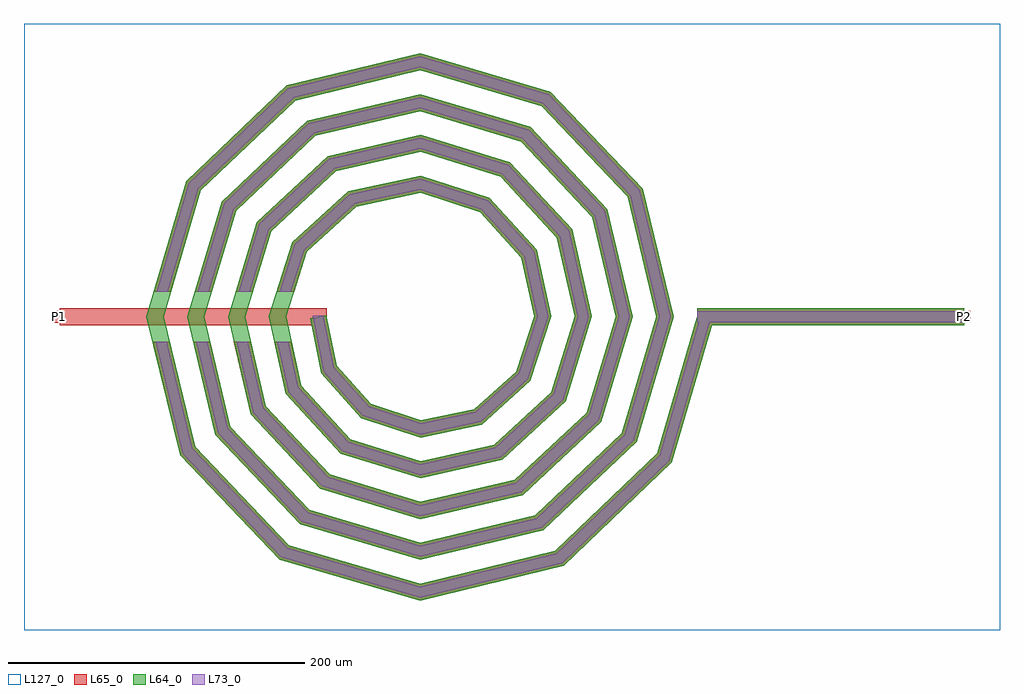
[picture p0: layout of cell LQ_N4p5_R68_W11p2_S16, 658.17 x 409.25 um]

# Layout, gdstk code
import gdstk
lib = gdstk.Library(unit=1e-6, precision=1e-09)
def R(c, l, rs):  # rectangles x0, y0, x1, y1
    for r in rs: c.add(gdstk.rectangle(r[:2], r[2:], *l))
def P(c, l, *ps):  # polygons
    for p in ps: c.add(gdstk.Polygon(p, *l))
L64_0 = (64, 0)
L65_0 = (65, 0)
L73_0 = (73, 0)
L127_0 = (127, 0)

lq_n4p5_r68_w11p2_s16 = lib.new_cell('LQ_N4p5_R68_W11p2_S16')
R(lq_n4p5_r68_w11p2_s16, L64_0, [(186.985,-5.6,366.985,5.6)])
P(lq_n4p5_r68_w11p2_s16, L64_0, [(-56.364,-32.944),(-33.496,-58.692),(0.327,-69.869),(36.356,-62.334),(64.633,-36.959),(76.746,0.3),(68.303,39.772),(40.419,70.576),(0.277,83.623),(-43.192,74.27),(-76.522,43.875),(-90.5,0.257),(-80.235,-46.614),(-47.33,-82.469),(0.24,-97.377),(50.039,-86.199),(88.417,-50.782),(104.255,0.225),(92.163,53.465),(54.233,94.366),(0.212,111.133),(-56.893,98.125),(-100.317,57.682),(-118.01,0.2),(-104.087,-60.322),(-61.13,-106.267),(0.19,-124.888),(63.752,-110.048),(112.219,-64.578),(131.766,0.18),(116.009,67.183),(68.024,118.171),(0.172,138.644),(-70.615,121.97),(-124.123,71.47),(-145.522,0.164),(-127.93,-74.047),(-74.916,-130.076),(0.157,-152.399),(77.48,-133.89),(136.029,-78.36),(159.277,0.15),(139.85,80.913),(81.805,141.982),(0.144,166.155),(-84.347,145.809),(-147.936,85.249),(-173.033,0.139),(-151.768,-87.781),(-88.692,-153.89),(0.134,-179.911),(91.216,-157.727),(159.844,-92.135),(187.21,1.57),(197.961,-1.57),(169.753,-98.157),(96.784,-167.898),(0.134,-191.504),(-94.722,-163.794),(-161.944,-93.341),(-184.625,0.139),(-157.835,91.288),(-89.897,155.99),(0.144,177.747),(87.854,151.875),(150.037,86.453),(170.869,0.15),(145.915,-84.42),(83.008,-144.083),(0.157,-163.991),(-80.987,-139.955),(-138.13,-79.563),(-157.113,0.164),(-133.995,77.554),(-76.117,132.177),(0.172,150.234),(74.122,128.034),(126.224,72.671),(143.356,0.18),(122.073,-70.69),(69.224,-120.272),(0.19,-136.478),(-67.26,-116.111),(-114.32,-65.776),(-129.599,0.2),(-110.149,63.83),(-62.327,108.369),(0.212,122.721),(60.401,104.186),(102.419,58.877),(115.843,0.225),(98.222,-56.974),(55.425,-96.469),(0.24,-108.964),(-53.548,-92.257),(-90.52,-51.971),(-102.085,0.257),(-86.291,50.125),(-48.516,84.572),(0.277,95.206),(46.703,80.323),(78.626,45.057),(88.327,0.3),(74.354,-43.285),(41.595,-72.681),(0.327,-81.448),(-39.87,-68.381),(-66.739,-38.129),(-74.268,-1.116),(-63.293,1.116)])
R(lq_n4p5_r68_w11p2_s16, L65_0, [(-243.181,-5.6,-63.181,5.6), (186.985,-5.6,366.985,5.6), (-247.181,-4,-239.181,4), (362.985,-4,370.985,4)])
P(lq_n4p5_r68_w11p2_s16, L65_0, [(-151.768,-87.782),(-88.692,-153.89),(0.134,-179.911),(91.216,-157.727),(159.844,-92.135),(187.21,1.57),(197.961,-1.57),(169.753,-98.157),(96.784,-167.898),(0.134,-191.504),(-94.723,-163.794),(-161.944,-93.341),(-180.516,-16.8),(-168.991,-16.8)],
  [(-127.93,-74.047),(-74.916,-130.076),(0.157,-152.399),(77.48,-133.89),(136.029,-78.36),(159.277,0.15),(139.85,80.913),(81.805,141.982),(0.144,166.155),(-84.347,145.809),(-147.936,85.249),(-168.055,16.8),(-179.728,16.8),(-157.835,91.288),(-89.897,155.99),(0.144,177.747),(87.854,151.875),(150.037,86.453),(170.869,0.15),(145.915,-84.42),(83.008,-144.083),(0.157,-163.991),(-80.987,-139.955),(-138.13,-79.563),(-153.074,-16.8),(-141.561,-16.8)],
  [(-104.087,-60.322),(-61.131,-106.267),(0.19,-124.888),(63.752,-110.048),(112.219,-64.578),(131.766,0.18),(116.009,67.183),(68.025,118.171),(0.172,138.644),(-70.615,121.97),(-124.123,71.47),(-140.454,16.8),(-152.143,16.8),(-133.995,77.554),(-76.117,132.177),(0.172,150.234),(74.122,128.034),(126.224,72.671),(143.356,0.18),(122.073,-70.69),(69.224,-120.272),(0.19,-136.478),(-67.26,-116.111),(-114.32,-65.776),(-125.663,-16.8),(-114.166,-16.8)],
  [(-80.235,-46.614),(-47.33,-82.469),(0.24,-97.378),(50.039,-86.199),(88.417,-50.782),(104.255,0.225),(92.163,53.465),(54.233,94.366),(0.212,111.133),(-56.893,98.125),(-100.317,57.682),(-112.814,16.8),(-124.525,16.8),(-110.149,63.83),(-62.327,108.369),(0.212,122.721),(60.401,104.186),(102.419,58.877),(115.843,0.225),(98.222,-56.974),(55.425,-96.469),(0.24,-108.964),(-53.548,-92.257),(-90.52,-51.971),(-98.308,-16.8),(-86.837,-16.8)],
  [(-33.496,-58.692),(0.328,-69.869),(36.356,-62.335),(64.633,-36.959),(76.746,0.3),(68.303,39.772),(40.419,70.576),(0.277,83.623),(-43.192,74.27),(-76.522,43.876),(-85.098,16.8),(-96.846,16.8),(-86.291,50.125),(-48.516,84.572),(0.277,95.207),(46.703,80.323),(78.626,45.057),(88.328,0.3),(74.354,-43.285),(41.595,-72.681),(0.328,-81.448),(-39.87,-68.381),(-66.739,-38.129),(-74.268,-1.116),(-63.293,1.116),(-56.364,-32.944)])
R(lq_n4p5_r68_w11p2_s16, L73_0, [(186.985,-3.6,366.985,3.6)])
P(lq_n4p5_r68_w11p2_s16, L73_0, [(-153.585,-88.774),(-89.769,-155.658),(0.086,-181.981),(92.21,-159.543),(161.613,-93.211),(189.13,1.009),(196.041,-1.009),(167.983,-97.082),(95.79,-166.082),(0.086,-189.434),(-93.646,-162.025),(-160.127,-92.348),(-178.458,-16.8),(-171.049,-16.8)],
  [(-129.752,-75.032),(-76,-131.84),(0.101,-154.469),(78.467,-135.71),(137.794,-79.443),(161.347,0.097),(141.669,81.902),(82.885,143.749),(0.093,168.225),(-85.338,147.627),(-149.704,86.327),(-170.139,16.8),(-177.644,16.8),(-156.067,90.21),(-88.906,154.172),(0.093,175.677),(86.774,150.108),(148.218,85.463),(168.799,0.097),(144.15,-83.338),(82.021,-142.263),(0.101,-161.921),(-79.903,-138.191),(-136.308,-78.578),(-151.018,-16.8),(-143.616,-16.8)],
  [(-105.914,-61.296),(-62.225,-108.025),(0.122,-126.958),(64.729,-111.874),(113.978,-65.669),(133.836,0.116),(117.834,68.163),(69.113,119.932),(0.11,140.713),(-71.597,123.793),(-125.886,72.557),(-142.541,16.8),(-150.056,16.8),(-132.232,76.468),(-75.135,130.354),(0.11,148.165),(73.033,126.273),(124.4,71.691),(141.286,0.116),(120.313,-69.599),(68.247,-118.446),(0.122,-134.408),(-66.165,-114.353),(-112.493,-64.802),(-123.61,-16.8),(-116.219,-16.8)],
  [(-82.072,-47.571),(-48.44,-84.217),(0.155,-99.447),(51,-88.033),(90.168,-51.888),(106.324,0.145),(93.994,54.431),(55.334,96.12),(0.136,113.202),(-57.863,99.954),(-102.072,58.78),(-114.905,16.8),(-122.434,16.8),(-108.393,62.732),(-61.357,106.54),(0.136,120.652),(59.3,102.432),(100.587,57.91),(113.773,0.145),(96.471,-55.868),(54.463,-94.635),(0.155,-106.895),(-52.438,-90.509),(-88.683,-51.015),(-96.26,-16.8),(-88.885,-16.8)],
  [(-34.634,-60.422),(0.211,-71.937),(37.292,-64.182),(66.369,-38.089),(78.814,0.193),(70.146,40.716),(41.541,72.317),(0.178,85.691),(-44.142,76.109),(-78.266,44.991),(-87.195,16.8),(-94.748,16.8),(-84.547,49.009),(-47.565,82.732),(0.178,93.138),(45.581,78.583),(76.782,44.114),(86.259,0.193),(72.618,-42.155),(40.66,-70.833),(0.211,-79.38),(-38.732,-66.651),(-64.886,-37.203),(-72.308,0.718),(-65.253,0.718),(-58.217,-33.87)])
R(lq_n4p5_r68_w11p2_s16, L127_0, [(-267.181,-211.504,390.985,197.747)])
lq_n4p5_r68_w11p2_s16.add(gdstk.Label('P2', (366.985,0), layer=65, texttype=0))
lq_n4p5_r68_w11p2_s16.add(gdstk.Label('P1', (-243.181,0), layer=65, texttype=0))
lq_n4p5_r68_w11p2_s16.add(gdstk.Label('P2', (370.985,0), layer=145, texttype=0))
lq_n4p5_r68_w11p2_s16.add(gdstk.Label('P1', (-247.181,0), layer=145, texttype=0))

lib.write_gds('LQ_N4p5_R68_W11p2_S16.gds')
